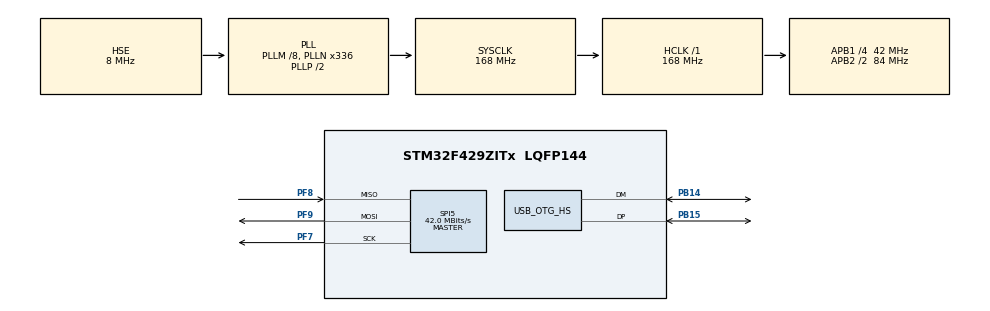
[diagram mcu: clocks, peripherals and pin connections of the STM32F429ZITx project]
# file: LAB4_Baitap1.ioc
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Mcu.Family=STM32F4
Mcu.Name=STM32F429ZITx
Mcu.Package=LQFP144
NVIC.OTG_HS_IRQn=true\:0\:0\:false\:false\:true\:true\:true\:true
NVIC.PriorityGroup=NVIC_PRIORITYGROUP_4
NVIC.SPI5_IRQn=true\:0\:0\:false\:false\:true\:true\:true\:true
PB14.Mode=Device_Only_FS
PB14.Signal=USB_OTG_HS_DM
PB15.Mode=Device_Only_FS
PB15.Signal=USB_OTG_HS_DP
PF7.Mode=Full_Duplex_Master
PF7.Signal=SPI5_SCK
PF8.Mode=Full_Duplex_Master
PF8.Signal=SPI5_MISO
PF9.Mode=Full_Duplex_Master
PF9.Signal=SPI5_MOSI
PH0/OSC_IN.Mode=HSE-External-Oscillator
PH0/OSC_IN.Signal=RCC_OSC_IN
PH1/OSC_OUT.Mode=HSE-External-Oscillator
PH1/OSC_OUT.Signal=RCC_OSC_OUT
ProjectManager.HeapSize=0x2000
ProjectManager.StackSize=0x400
ProjectManager.TargetToolchain=STM32CubeIDE
RCC.48MHZClocksFreq_Value=48000000
RCC.AHBFreq_Value=168000000
RCC.APB1CLKDivider=RCC_HCLK_DIV4
RCC.APB1Freq_Value=42000000
RCC.APB1TimFreq_Value=84000000
RCC.APB2CLKDivider=RCC_HCLK_DIV2
RCC.APB2Freq_Value=84000000
RCC.APB2TimFreq_Value=168000000
RCC.CortexFreq_Value=168000000
RCC.HCLKFreq_Value=168000000
RCC.HSE_VALUE=8000000
RCC.HSI_VALUE=16000000
RCC.LSE_VALUE=32768
RCC.PLLM=8
RCC.PLLN=336
RCC.PLLQ=7
RCC.SYSCLKFreq_VALUE=168000000
RCC.SYSCLKSource=RCC_SYSCLKSOURCE_PLLCLK
RCC.VCOOutputFreq_Value=336000000
SPI5.CalculateBaudRate=42.0 MBits/s
SPI5.Direction=SPI_DIRECTION_2LINES
SPI5.Mode=SPI_MODE_MASTER
SPI5.VirtualType=VM_MASTER
USB_DEVICE.CLASS_NAME_HS=CDC
USB_DEVICE.VirtualMode-CDC_HS=Cdc
USB_DEVICE.VirtualModeHS=Cdc_HS
USB_OTG_HS.VirtualMode-Device_Only_FS=Device_Only_FS
VP_USB_DEVICE_VS_USB_DEVICE_CDC_HS.Mode=CDC_HS
board=custom

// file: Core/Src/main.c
/* USER CODE BEGIN Header */
/**
  ******************************************************************************
  * @file           : main.c
  * @brief          : Main program body
  ******************************************************************************
  * @attention
  *
  * Copyright (c) 2022 STMicroelectronics.
  * All rights reserved.
  *
  * This software is licensed under terms that can be found in the LICENSE file
  * in the root directory of this software component.
  * If no LICENSE file comes with this software, it is provided AS-IS.
  *
  ******************************************************************************
  */
/* USER CODE END Header */
#include "main.h"
#include "stm32f429i_discovery_sdram.h"
#include "stm32f429i_discovery_lcd.h"
#include "string.h"
#include "usb_device.h"
#include "usbd_cdc_if.h"
#include "stm32f429i_discovery_gyroscope.h"
#include "l3gd20.h"

SPI_HandleTypeDef hspi5;

void SystemClock_Config(void);
static void MX_GPIO_Init(void);
static void MX_SPI5_Init(void);

/* USER CODE BEGIN 0 */
float pfData[5];
uint8_t Rx_bufferX[100];
uint8_t Rx_bufferY[100];
uint8_t Rx_bufferZ[100];
char *space = "\n";
Point top [] = {{120, 0}, {110, 10}, {130, 10}};
Point bot [] = {{120, 320}, {110, 310}, {130, 310}};
Point left [] = {{0, 160}, {10, 150}, {10, 170}};
Point right [] = {{240, 160}, {230, 150}, {230, 170}};
/* USER CODE END 0 */

int main(void)
{

  /* MCU Configuration--------------------------------------------------------*/

  /* Reset of all peripherals, Initializes the Flash interface and the Systick. */
  HAL_Init();
  BSP_GYRO_Init();

  /* Configure the system clock */
  SystemClock_Config();

  /* Initialize all configured peripherals */
  MX_GPIO_Init();
  MX_SPI5_Init();
  MX_USB_DEVICE_Init();
  /* USER CODE BEGIN 2 */
  /* USER CODE BEGIN 2 */
  BSP_LCD_Init();//init LCD
  //set the layer buffer address into SDRAM
  BSP_LCD_LayerDefaultInit(1, SDRAM_DEVICE_ADDR);
  BSP_LCD_SelectLayer(1);//select on which layer we write
  BSP_LCD_DisplayOn();//turn on LCD
  BSP_LCD_Clear(LCD_COLOR_BLUE);//clear the LCD on blue color
  BSP_LCD_SetBackColor(LCD_COLOR_BLUE);//set text background color
  BSP_LCD_SetTextColor(LCD_COLOR_WHITE);//set text color
  //write text
  /* USER CODE END 2 */

  /* Infinite loop */
  while (1)
  {

    /* USER CODE BEGIN 3 */
	  L3GD20_ReadXYZAngRate(pfData);

	  sprintf(Rx_bufferX, "X %4f", pfData[0]);
	  CDC_Transmit_HS((uint8_t*)Rx_bufferX,strlen(Rx_bufferX));
	  BSP_LCD_DisplayStringAtLine(1, Rx_bufferX);

	  sprintf(Rx_bufferY, "Y %4f", pfData[1]);
	  CDC_Transmit_HS((uint8_t*)Rx_bufferY,strlen(Rx_bufferY));
	  BSP_LCD_DisplayStringAtLine(2, Rx_bufferY);

	  sprintf(Rx_bufferZ, "Z %4f", pfData[2]);
	  CDC_Transmit_HS((uint8_t*)Rx_bufferZ,strlen(Rx_bufferZ));
	  BSP_LCD_DisplayStringAtLine(3, Rx_bufferZ);

	  BSP_LCD_Clear(LCD_COLOR_BLUE);
	  CDC_Transmit_HS((uint8_t*)space,strlen(space));
	  if (pfData[0]<0&&pfData[1]<0)
	  {
	  	  BSP_LCD_FillPolygon(top, 3);
	  	  BSP_LCD_FillPolygon(left, 3);
	  	  HAL_Delay(1000);
	  }
	  if (pfData[0]<0&&pfData[1]>0)
	  {
	  	  BSP_LCD_FillPolygon(top, 3);
	  	  BSP_LCD_FillPolygon(right, 3);
	  	  HAL_Delay(1000);
	  }
	  if (pfData[0]>0&&pfData[1]<0)
	  {
		  BSP_LCD_FillPolygon(bot, 3);
		  BSP_LCD_FillPolygon(left, 3);
		  HAL_Delay(1000);
	  }
	  if (pfData[0]>0&&pfData[1]>0)
	  {
		  BSP_LCD_FillPolygon(bot, 3);
		  BSP_LCD_FillPolygon(right, 3);
		  HAL_Delay(1000);
	 }
	/* USER CODE BEGIN 3 */
	HAL_Delay(1000);
  }
  /* USER CODE END 3 */
}

void SystemClock_Config(void)
{
  RCC_OscInitTypeDef RCC_OscInitStruct = {0};
  RCC_ClkInitTypeDef RCC_ClkInitStruct = {0};

  /** Configure the main internal regulator output voltage
  */
  __HAL_RCC_PWR_CLK_ENABLE();
  __HAL_PWR_VOLTAGESCALING_CONFIG(PWR_REGULATOR_VOLTAGE_SCALE1);

  /** Initializes the RCC Oscillators according to the specified parameters
  * in the RCC_OscInitTypeDef structure.
  */
  RCC_OscInitStruct.OscillatorType = RCC_OSCILLATORTYPE_HSE;
  RCC_OscInitStruct.HSEState = RCC_HSE_ON;
  RCC_OscInitStruct.PLL.PLLState = RCC_PLL_ON;
  RCC_OscInitStruct.PLL.PLLSource = RCC_PLLSOURCE_HSE;
  RCC_OscInitStruct.PLL.PLLM = 8;
  RCC_OscInitStruct.PLL.PLLN = 336;
  RCC_OscInitStruct.PLL.PLLP = RCC_PLLP_DIV2;
  RCC_OscInitStruct.PLL.PLLQ = 7;
  if (HAL_RCC_OscConfig(&RCC_OscInitStruct) != HAL_OK)
  {
    Error_Handler();
  }

  /** Initializes the CPU, AHB and APB buses clocks
  */
  RCC_ClkInitStruct.ClockType = RCC_CLOCKTYPE_HCLK|RCC_CLOCKTYPE_SYSCLK
                              |RCC_CLOCKTYPE_PCLK1|RCC_CLOCKTYPE_PCLK2;
  RCC_ClkInitStruct.SYSCLKSource = RCC_SYSCLKSOURCE_PLLCLK;
  RCC_ClkInitStruct.AHBCLKDivider = RCC_SYSCLK_DIV1;
  RCC_ClkInitStruct.APB1CLKDivider = RCC_HCLK_DIV4;
  RCC_ClkInitStruct.APB2CLKDivider = RCC_HCLK_DIV2;

  if (HAL_RCC_ClockConfig(&RCC_ClkInitStruct, FLASH_LATENCY_5) != HAL_OK)
  {
    Error_Handler();
  }
}

static void MX_SPI5_Init(void)
{

  /* SPI5 parameter configuration*/
  hspi5.Instance = SPI5;
  hspi5.Init.Mode = SPI_MODE_MASTER;
  hspi5.Init.Direction = SPI_DIRECTION_2LINES;
  hspi5.Init.DataSize = SPI_DATASIZE_8BIT;
  hspi5.Init.CLKPolarity = SPI_POLARITY_LOW;
  hspi5.Init.CLKPhase = SPI_PHASE_1EDGE;
  hspi5.Init.NSS = SPI_NSS_SOFT;
  hspi5.Init.BaudRatePrescaler = SPI_BAUDRATEPRESCALER_2;
  hspi5.Init.FirstBit = SPI_FIRSTBIT_MSB;
  hspi5.Init.TIMode = SPI_TIMODE_DISABLE;
  hspi5.Init.CRCCalculation = SPI_CRCCALCULATION_DISABLE;
  hspi5.Init.CRCPolynomial = 10;
  if (HAL_SPI_Init(&hspi5) != HAL_OK)
  {
    Error_Handler();
  }

}

static void MX_GPIO_Init(void)
{

  /* GPIO Ports Clock Enable */
  __HAL_RCC_GPIOF_CLK_ENABLE();
  __HAL_RCC_GPIOH_CLK_ENABLE();
  __HAL_RCC_GPIOB_CLK_ENABLE();

}

void Error_Handler(void)
{
  __disable_irq();
  while (1)
  {
  }
}
